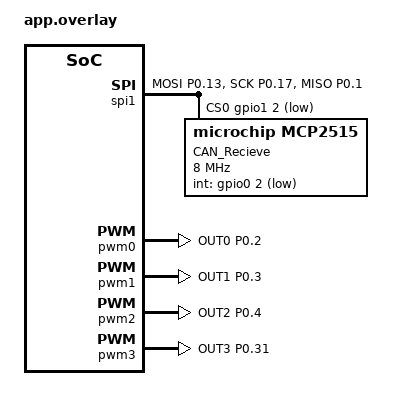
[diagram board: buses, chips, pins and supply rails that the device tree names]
&spi1 {
	status = "okay";
	pinctrl-0 = <&spi1_default>;
	pinctrl-names = "default";
	cs-gpios = <&gpio1 2 GPIO_ACTIVE_LOW>;
	mcp2515_can: mcp2515@0 {
		compatible = "microchip,mcp2515";
        spi-max-frequency = <8000000>;
        int-gpios = <&gpio0 2 GPIO_ACTIVE_LOW>;
        status = "okay";
		label = "CAN_Recieve";
		reg = <0x0>;
		osc-freq = <16000000>;
		bus-speed = <125000>;
		sjw = <1>;
		prop-seg = <2>;
		phase-seg1 = <7>;
		phase-seg2 = <6>;
		#address-cells = <1>;
		#size-cells = <0>;

	};


};

&pinctrl {
    spi1_default: spi1_default {
		group1 {
			psels = <NRF_PSEL(SPIM_MOSI, 0, 13)>,
					<NRF_PSEL(SPIM_SCK, 0, 17)>,
					<NRF_PSEL(SPIM_MISO, 0, 1)>;
		};
	};
    pwm0_default_alt: pwm0_default_alt {
        group1  {
            psels = <NRF_PSEL(PWM_OUT0,0,2)>;
            nordic,invert;
        };
    };
    pwm0_sleep_alt: pwm0_sleep_alt_alt {
        group1  {
            psels = <NRF_PSEL(PWM_OUT0,0,2)>;
            low-power-enable;
        };
    };
	pwm1_default_alt: pwm1_default_alt {
        group1  {
            psels = <NRF_PSEL(PWM_OUT1,0,3)>;
            nordic,invert;
        };
    };
    pwm1_sleep_alt: pwm1_sleep_alt_alt {
        group1  {
            psels = <NRF_PSEL(PWM_OUT1,0,3)>;
            low-power-enable;
        };
    };
	pwm2_default_alt: pwm2_default_alt {
        group1  {
            psels = <NRF_PSEL(PWM_OUT2,0,4)>;
            nordic,invert;
        };
    };
    pwm2_sleep_alt: pwm2_sleep_alt_alt {
        group1  {
            psels = <NRF_PSEL(PWM_OUT2,0,4)>;
            low-power-enable;
        };
    };
	pwm3_default_alt: pwm3_default_alt {
        group1  {
            psels = <NRF_PSEL(PWM_OUT3,0,31)>;
            nordic,invert;
        };
    };
    pwm3_sleep_alt: pwm3_sleep_alt_alt {
        group1  {
            psels = <NRF_PSEL(PWM_OUT3,0,31)>;
            low-power-enable;
        };
    };
};


&pwm0 {
	status = "okay";
	//ch0-pin = <3>; // P0.3 is labelled RING1 on the microbit. (connected to pin 1 in breakout board)
    pinctrl-0 = <&pwm0_default_alt>;
    pinctrl-1 = <&pwm0_sleep_alt>;
    pinctrl-names = "default", "sleep";

    label="PWM_0";
};
&pwm1 {
	status = "okay";
	//ch0-pin = <3>; // P0.3 is labelled RING1 on the microbit. (connected to pin 1 in breakout board)
    pinctrl-0 = <&pwm1_default_alt>;
    pinctrl-1 = <&pwm1_sleep_alt>;
    pinctrl-names = "default", "sleep";

    label="PWM_1";
};
&pwm2 {
	status = "okay";
	//ch0-pin = <3>; // P0.3 is labelled RING1 on the microbit. (connected to pin 1 in breakout board)
    pinctrl-0 = <&pwm2_default_alt>;
    pinctrl-1 = <&pwm2_sleep_alt>;
    pinctrl-names = "default", "sleep";

    label="PWM_2";
};
&pwm3 {
	status = "okay";
	//ch0-pin = <3>; // P0.3 is labelled RING1 on the microbit. (connected to pin 1 in breakout board)
    pinctrl-0 = <&pwm3_default_alt>;
    pinctrl-1 = <&pwm3_sleep_alt>;
    pinctrl-names = "default", "sleep";

    label="PWM_3";
};
/ {
    chosen {
        zephyr,canbus = &mcp2515_can;
    };
};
